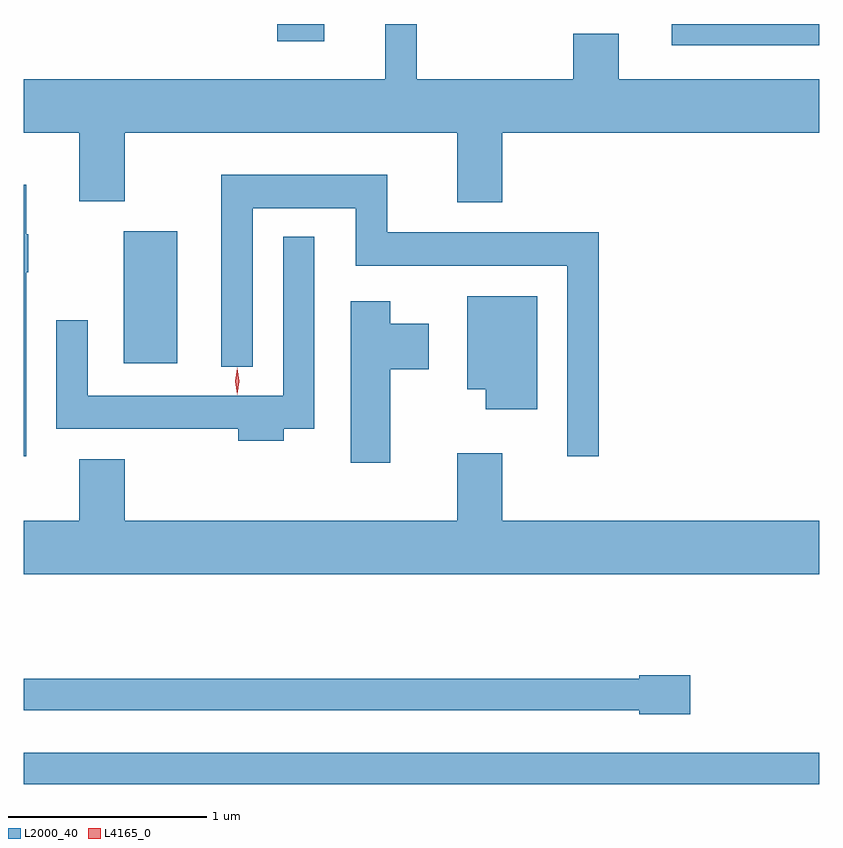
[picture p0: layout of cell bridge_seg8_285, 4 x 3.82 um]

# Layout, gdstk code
import gdstk
lib = gdstk.Library(unit=1e-6, precision=1e-09)
def R(c, l, rs):  # rectangles x0, y0, x1, y1
    for r in rs: c.add(gdstk.rectangle(r[:2], r[2:], *l))
def P(c, l, *ps):  # polygons
    for p in ps: c.add(gdstk.Polygon(p, *l))
L2000_40 = (2000, 40)
L4165_0 = (4165, 0)

bridge_seg8_285 = lib.new_cell('bridge_seg8_285')
R(bridge_seg8_285, L2000_40, [(1404.682,1817.601,1408.682,1817.759), (1405.186,1819.716,1405.454,1820.379), (1407.941,1821.316,1408.682,1821.422), (1405.956,1821.336,1406.194,1821.422)])
P(bridge_seg8_285, L2000_40, [(1407.089,1820.876),(1408.682,1820.876),(1408.682,1821.144),(1407.674,1821.144),(1407.674,1821.374),(1407.446,1821.374),(1407.446,1821.144),(1406.659,1821.144),(1406.659,1821.422),(1406.501,1821.422),(1406.501,1821.144),(1404.682,1821.144),(1404.682,1820.876),(1404.961,1820.876),(1404.961,1820.531),(1405.189,1820.531),(1405.189,1820.876),(1406.861,1820.876),(1406.861,1820.526),(1407.089,1820.526)],
  [(1407.574,1820.374),(1406.509,1820.374),(1406.509,1820.664),(1405.676,1820.664),(1405.676,1819.698),(1405.834,1819.698),(1405.834,1820.496),(1406.351,1820.496),(1406.351,1820.206),(1407.416,1820.206),(1407.416,1819.248),(1407.574,1819.248)],
  [(1404.694,1820.175),(1404.704,1820.175),(1404.704,1820.365),(1404.694,1820.365),(1404.694,1820.614),(1404.682,1820.614),(1404.682,1819.248),(1404.694,1819.248)],
  [(1405.989,1819.386),(1406.144,1819.386),(1406.144,1820.353),(1405.986,1820.353),(1405.986,1819.554),(1405.004,1819.554),(1405.004,1819.933),(1404.846,1819.933),(1404.846,1819.386),(1405.761,1819.386),(1405.761,1819.326),(1405.989,1819.326)],
  [(1407.264,1820.054),(1406.911,1820.054),(1406.911,1819.586),(1407.006,1819.586),(1407.006,1819.486),(1407.264,1819.486)],
  [(1406.524,1819.686),(1406.719,1819.686),(1406.719,1819.914),(1406.524,1819.914),(1406.524,1820.029),(1406.326,1820.029),(1406.326,1819.216),(1406.524,1819.216)],
  [(1408.682,1818.924),(1407.089,1818.924),(1407.089,1819.264),(1406.861,1819.264),(1406.861,1818.924),(1405.189,1818.924),(1405.189,1819.234),(1404.961,1819.234),(1404.961,1818.924),(1404.682,1818.924),(1404.682,1818.656),(1408.682,1818.656)],
  [(1408.034,1818.149),(1407.776,1818.149),(1407.776,1818.129),(1404.682,1818.129),(1404.682,1817.971),(1407.776,1817.971),(1407.776,1817.951),(1408.034,1817.951)])
P(bridge_seg8_285, L4165_0, [(1405.756,1819.559),(1405.755,1819.56),(1405.746,1819.626),(1405.755,1819.692),(1405.755,1819.693),(1405.756,1819.692),(1405.766,1819.626),(1405.756,1819.56)])

lib.write_gds('bridge_seg8_285.gds')
